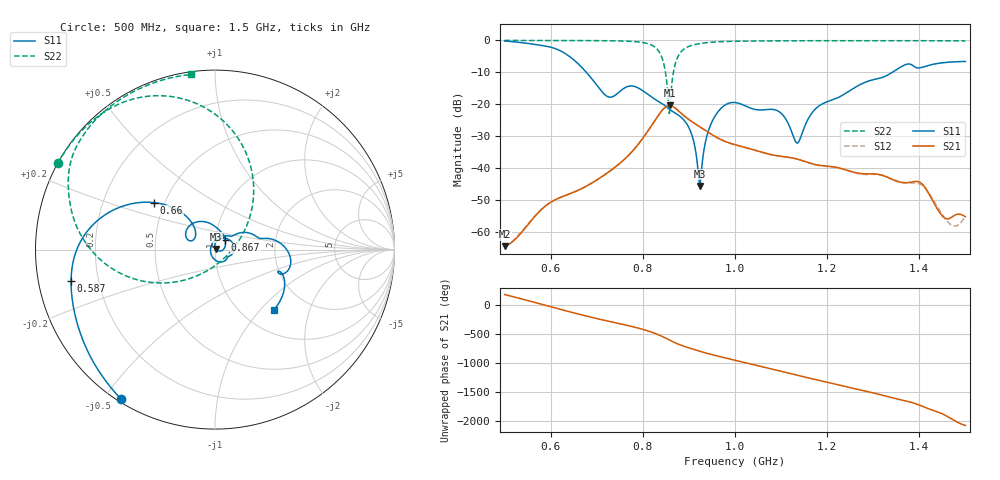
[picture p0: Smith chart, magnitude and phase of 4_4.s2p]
! TOUCHSTONE file generated by CST MICROWAVE STUDIO
! Date and time: Wed Oct 28 19:13:58 2020
! Project name: Scenario_1_Circular_Tissue_out_of_Line.cst
! Parameters = {dy1=-293.977; L_HA=400; MT=2.54; Rad_Dielectric=30; Rad_Lower=7.3; Rad_Upper=30; a_HA=580; a_WG=246; b_HA=500; b_WG=121; c_HA=0; c_WG=187; d_feed=85; dx1=693; h_feed=15; h_lower=18; h_upper=40}
! Header version: 2018
! Port assignment regex: !\s*Touchstone port\s*([0-9]+)\s*=\s*(CST MWS port|CST DS port)\s*([0-9]+|Zmin|Zmax)\s*\(\"(.*)\"\)(\s*mode\s*([0-9]+))?.*
! Touchstone port assignment:
! Touchstone port 1 = CST MWS port 1 ("")
! Touchstone port 2 = CST MWS port 2 ("")
# GHz S DB R 50
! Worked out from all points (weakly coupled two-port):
!   1001 points, 500 MHz to 1.5 GHz, reference 50 ohm
!   highest |S21| = -20.32 dB at 858 MHz (marker M1); lowest = -64.3 dB at 500 MHz (marker M2)
!   lowest |S11| = -45.5 dB at 924 MHz (marker M3), VSWR 1.01, Z = 50.4 + j0.38 ohm
!   |S11| at or under -10 dB: 677.6 MHz to 1.341 GHz (663.3 MHz wide, 65.7 % of centre)
!   |S22| runs from -22.8 to 0.0 dB; largest |S21 - S12| = 0.00083
!   S11 on the Smith chart (normalised r, x): 500 MHz: 0.01, -0.55; 587 MHz: 0.10, -0.11; 660 MHz: 0.44, +0.28; 867 MHz: 1.11, +0.12; 1.5 GHz: 1.38, -1.19
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0.5  -0.14 -122.3  -64.29 174.3  -64.26 170.6  -0.01 151.1
0.587  -1.72 -167.9  -51.92 -6.9  -51.92 -6.9  -0.02 145.1
0.66  -7.35 142.4  -46.79 -161.5  -46.79 -162.2  -0.04 139.0
0.667  -8.35 138.7  -46.31 -175.5  -46.31 -175.9  -0.04 138.4
0.725  -17.64 146.6  -41.17 75.7  -41.23 76.9  -0.10 131.6
0.779  -14.29 133.7  -34.35 -21.5  -34.35 -21.7  -0.33 120.6
0.834  -19.10 77.4  -23.36 -158.3  -23.36 -158.3  -3.27 83.2
0.847  -20.26 63.6  -21.07 154.4  -21.06 154.4  -8.32 55.8
0.858  -21.55 52.2  -20.32 109.3  -20.32 109.3  -22.77 -64.0
0.867  -22.40 43.2  -20.80 73.6  -20.80 73.6  -9.41 -146.7
0.902  -27.89 -6.0  -24.95 -30.2  -24.93 -30.1  -1.74 166.1
0.924  -45.49 45.3  -27.03 -83.4  -27.03 -83.4  -0.99 156.3
0.951  -25.13 73.2  -29.53 -143.0  -29.53 -142.9  -0.54 148.8
1  -19.41 2.6  -32.59 121.9  -32.59 121.9  -0.27 140.2
1.095  -22.21 -62.6  -36.12 -58.2  -36.13 -58.2  -0.13 130.1
1.135  -32.08 175.6  -37.08 -135.8  -37.09 -136.0  -0.11 126.8
1.167  -22.67 72.1  -38.55 163.9  -38.50 164.1  -0.09 124.2
1.334  -10.61 12.3  -42.96 -150.8  -42.91 -150.5  -0.09 111.5
1.407  -8.35 -18.7  -44.98 46.8  -45.38 47.5  -0.10 105.7
1.45  -6.99 -30.8  -54.86 -81.7  -54.47 -85.5  -0.11 102.2
1.471  -6.73 -37.5  -55.18 -174.5  -57.80 -158.2  -0.12 100.4
1.5  -6.57 -45.9  -55.10 78.9  -55.14 79.0  -0.13 97.9
